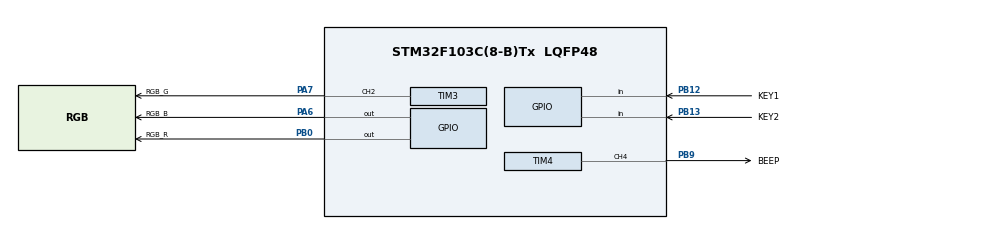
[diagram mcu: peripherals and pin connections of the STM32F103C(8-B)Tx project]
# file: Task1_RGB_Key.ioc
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Mcu.Family=STM32F1
Mcu.Name=STM32F103C(8-B)Tx
Mcu.Package=LQFP48
NVIC.PriorityGroup=NVIC_PRIORITYGROUP_4
PA13.Mode=Serial_Wire
PA13.Signal=SYS_JTMS-SWDIO
PA14.Mode=Serial_Wire
PA14.Signal=SYS_JTCK-SWCLK
PA6.GPIO_Label=RGB_B
PA6.Signal=GPIO_Output
PA7.GPIO_Label=RGB_G
PA7.Signal=S_TIM3_CH2
PB0.GPIO_Label=RGB_R
PB0.Signal=GPIO_Output
PB12.GPIO_Label=KEY1
PB12.GPIO_PuPd=GPIO_PULLUP
PB12.Signal=GPIO_Input
PB13.GPIO_Label=KEY2
PB13.GPIO_PuPd=GPIO_PULLUP
PB13.Signal=GPIO_Input
PB9.GPIO_Label=BEEP
PB9.Signal=S_TIM4_CH4
ProjectManager.HeapSize=0x200
ProjectManager.StackSize=0x400
ProjectManager.TargetToolchain=MDK-ARM V5.32
RCC.APB1Freq_Value=8000000
RCC.APB2Freq_Value=8000000
SH.S_TIM3_CH2.0=TIM3_CH2,PWM Generation2 CH2
SH.S_TIM4_CH4.0=TIM4_CH4,PWM Generation4 CH4
TIM3.Channel-PWM\ Generation2\ CH2=TIM_CHANNEL_2
TIM3.Period=1000-1
TIM3.Prescaler=8-1
TIM4.Channel-PWM\ Generation4\ CH4=TIM_CHANNEL_4
TIM4.Period=500-1
TIM4.Prescaler=8-1
board=custom

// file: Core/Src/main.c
/* USER CODE BEGIN Header */
/**
  ******************************************************************************
  * @file           : main.c
  * @brief          : Main program body
  ******************************************************************************
  * @attention
  *
  * Copyright (c) 2026 STMicroelectronics.
  * All rights reserved.
  *
  * This software is licensed under terms that can be found in the LICENSE file
  * in the root directory of this software component.
  * If no LICENSE file comes with this software, it is provided AS-IS.
  *
  ******************************************************************************
  */
/* USER CODE END Header */
#include "main.h"
#include "tim.h"
#include "gpio.h"

/* USER CODE BEGIN PTD */
typedef enum
{
  RGB_STATE_GREEN = 0,
  RGB_STATE_RED,
  RGB_STATE_BREATH
} RGB_StateTypeDef;

/* USER CODE END PTD */

/* USER CODE BEGIN PD */
#define RGB_ON          GPIO_PIN_SET
#define RGB_OFF         GPIO_PIN_RESET
#define KEY_DOWN        GPIO_PIN_RESET
#define RGB_G_CHANNEL   TIM_CHANNEL_2
#define BEEP_CHANNEL    TIM_CHANNEL_4

/* USER CODE END PD */

/* USER CODE BEGIN PV */
static RGB_StateTypeDef rgb_state = RGB_STATE_GREEN;
static int key2_off = 0;
static int breath = 0;
static int breath_dir = 1;
static int beep_intermit_on = 0;
static uint32_t beep_last_toggle_tick = 0;

static const int key_debounce_ms = 20;
static const int key2_refresh_ms = 10;
static const int breath_delay_ms = 10;
static const int breath_step = 10;
static const int green_pwm_max = 999;
static const int beep_pwm_compare = 100;
static const int beep_intermit_ms = 500;

/* USER CODE END PV */

void SystemClock_Config(void);
/* USER CODE BEGIN PFP */
static int Key_DebouncePressed(GPIO_TypeDef *GPIOx, uint16_t GPIO_Pin);
static void Key_WaitRelease(GPIO_TypeDef *GPIOx, uint16_t GPIO_Pin);
static void RGB_G_Set(int light);
static void BEEP_On(void);
static void BEEP_Off(void);
static void BEEP_Intermit(void);
static void KEY1_Process(void);
static void KEY2_Process(void);
static void RGB_ShowState(void);

/* USER CODE END PFP */

/* USER CODE BEGIN 0 */
static int Key_DebouncePressed(GPIO_TypeDef *GPIOx, uint16_t GPIO_Pin)
{
  if (HAL_GPIO_ReadPin(GPIOx, GPIO_Pin) == KEY_DOWN) {
    HAL_Delay(key_debounce_ms);
    if (HAL_GPIO_ReadPin(GPIOx, GPIO_Pin) == KEY_DOWN) {
      return 1;
    }
  }
  return 0;
}

static void Key_WaitRelease(GPIO_TypeDef *GPIOx, uint16_t GPIO_Pin)
{
  while (HAL_GPIO_ReadPin(GPIOx, GPIO_Pin) == KEY_DOWN) {}
  HAL_Delay(key_debounce_ms);
}

static void RGB_G_Set(int light)
{
  if (light < 0) {
    light = 0;
  }
  if (light > green_pwm_max) {
    light = green_pwm_max;
  }

  __HAL_TIM_SET_COMPARE(&htim3, RGB_G_CHANNEL, light);
}

static void BEEP_On(void)
{
  __HAL_TIM_SET_COMPARE(&htim4, BEEP_CHANNEL, beep_pwm_compare);
}

static void BEEP_Off(void)
{
  __HAL_TIM_SET_COMPARE(&htim4, BEEP_CHANNEL, 0);
}

static void BEEP_Intermit(void)
{
  uint32_t now = HAL_GetTick();

  if ((now - beep_last_toggle_tick) >= beep_intermit_ms) {
    beep_last_toggle_tick = now;
    beep_intermit_on = !beep_intermit_on;
  }

  if (beep_intermit_on == 1) {
    BEEP_On();
  } else {
    BEEP_Off();
  }
}

static void KEY1_Process(void)
{
  if (Key_DebouncePressed(KEY1_GPIO_Port, KEY1_Pin)) {
    Key_WaitRelease(KEY1_GPIO_Port, KEY1_Pin);

    if (key2_off == 1) {
      rgb_state = RGB_STATE_GREEN;
      key2_off = 0;
    } else {
      rgb_state++;
      if (rgb_state > RGB_STATE_BREATH) {
        rgb_state = RGB_STATE_GREEN;
      }
    }

    if (rgb_state == RGB_STATE_BREATH) {
      breath = 0;
      breath_dir = 1;
      beep_intermit_on = 0;
      beep_last_toggle_tick = HAL_GetTick();
    }
  }
}

static void KEY2_Process(void)
{
  if (Key_DebouncePressed(KEY2_GPIO_Port, KEY2_Pin)) {
    HAL_GPIO_WritePin(RGB_R_GPIO_Port, RGB_R_Pin, RGB_OFF);
    HAL_GPIO_WritePin(RGB_B_GPIO_Port, RGB_B_Pin, RGB_OFF);
    RGB_G_Set(green_pwm_max);
    BEEP_Off();

    while (HAL_GPIO_ReadPin(KEY2_GPIO_Port, KEY2_Pin) == KEY_DOWN) {
      HAL_GPIO_WritePin(RGB_R_GPIO_Port, RGB_R_Pin, RGB_OFF);
      HAL_GPIO_WritePin(RGB_B_GPIO_Port, RGB_B_Pin, RGB_OFF);
      RGB_G_Set(green_pwm_max);
      BEEP_Off();
      HAL_Delay(key2_refresh_ms);
    }

    HAL_Delay(key_debounce_ms);
    BEEP_Off();
    key2_off = 1;
  }
}

static void RGB_ShowState(void)
{
  if (key2_off == 1) {
    HAL_GPIO_WritePin(RGB_R_GPIO_Port, RGB_R_Pin, RGB_OFF);
    HAL_GPIO_WritePin(RGB_B_GPIO_Port, RGB_B_Pin, RGB_OFF);
    RGB_G_Set(0);
    BEEP_Off();
  } else if (rgb_state == RGB_STATE_GREEN) {
    HAL_GPIO_WritePin(RGB_R_GPIO_Port, RGB_R_Pin, RGB_OFF);
    HAL_GPIO_WritePin(RGB_B_GPIO_Port, RGB_B_Pin, RGB_OFF);
    RGB_G_Set(green_pwm_max);
    BEEP_On();
  } else if (rgb_state == RGB_STATE_RED) {
    HAL_GPIO_WritePin(RGB_R_GPIO_Port, RGB_R_Pin, RGB_ON);
    HAL_GPIO_WritePin(RGB_B_GPIO_Port, RGB_B_Pin, RGB_OFF);
    RGB_G_Set(0);
    BEEP_Off();
  } else if (rgb_state == RGB_STATE_BREATH) {
    HAL_GPIO_WritePin(RGB_R_GPIO_Port, RGB_R_Pin, RGB_OFF);
    HAL_GPIO_WritePin(RGB_B_GPIO_Port, RGB_B_Pin, RGB_OFF);
    RGB_G_Set(breath);
    BEEP_Intermit();

    breath += breath_dir * breath_step;
    if (breath >= green_pwm_max) {
      breath = green_pwm_max;
      breath_dir = -1;
    }
    if (breath <= 0) {
      breath = 0;
      breath_dir = 1;
    }

    HAL_Delay(breath_delay_ms);
  }
}

/* USER CODE END 0 */

int main(void)
{

  /* MCU Configuration--------------------------------------------------------*/

  /* Reset of all peripherals, Initializes the Flash interface and the Systick. */
  HAL_Init();

  /* Configure the system clock */
  SystemClock_Config();

  /* Initialize all configured peripherals */
  MX_GPIO_Init();
  MX_TIM3_Init();
  MX_TIM4_Init();
  /* USER CODE BEGIN 2 */
  HAL_TIM_PWM_Start(&htim3, RGB_G_CHANNEL);
  HAL_TIM_PWM_Start(&htim4, BEEP_CHANNEL);

  HAL_GPIO_WritePin(RGB_R_GPIO_Port, RGB_R_Pin, RGB_OFF);
  HAL_GPIO_WritePin(RGB_B_GPIO_Port, RGB_B_Pin, RGB_OFF);
  RGB_G_Set(green_pwm_max);
  BEEP_On();

  /* USER CODE END 2 */

  /* Infinite loop */
  while (1)
  {

    /* USER CODE BEGIN 3 */
    KEY2_Process();
    KEY1_Process();
    RGB_ShowState();
  }
  /* USER CODE END 3 */
}

void SystemClock_Config(void)
{
  RCC_OscInitTypeDef RCC_OscInitStruct = {0};
  RCC_ClkInitTypeDef RCC_ClkInitStruct = {0};

  /** Initializes the RCC Oscillators according to the specified parameters
  * in the RCC_OscInitTypeDef structure.
  */
  RCC_OscInitStruct.OscillatorType = RCC_OSCILLATORTYPE_HSI;
  RCC_OscInitStruct.HSIState = RCC_HSI_ON;
  RCC_OscInitStruct.HSICalibrationValue = RCC_HSICALIBRATION_DEFAULT;
  RCC_OscInitStruct.PLL.PLLState = RCC_PLL_NONE;
  if (HAL_RCC_OscConfig(&RCC_OscInitStruct) != HAL_OK)
  {
    Error_Handler();
  }

  /** Initializes the CPU, AHB and APB buses clocks
  */
  RCC_ClkInitStruct.ClockType = RCC_CLOCKTYPE_HCLK|RCC_CLOCKTYPE_SYSCLK
                              |RCC_CLOCKTYPE_PCLK1|RCC_CLOCKTYPE_PCLK2;
  RCC_ClkInitStruct.SYSCLKSource = RCC_SYSCLKSOURCE_HSI;
  RCC_ClkInitStruct.AHBCLKDivider = RCC_SYSCLK_DIV1;
  RCC_ClkInitStruct.APB1CLKDivider = RCC_HCLK_DIV1;
  RCC_ClkInitStruct.APB2CLKDivider = RCC_HCLK_DIV1;

  if (HAL_RCC_ClockConfig(&RCC_ClkInitStruct, FLASH_LATENCY_0) != HAL_OK)
  {
    Error_Handler();
  }
}

void Error_Handler(void)
{
  __disable_irq();
  while (1)
  {
  }
}
